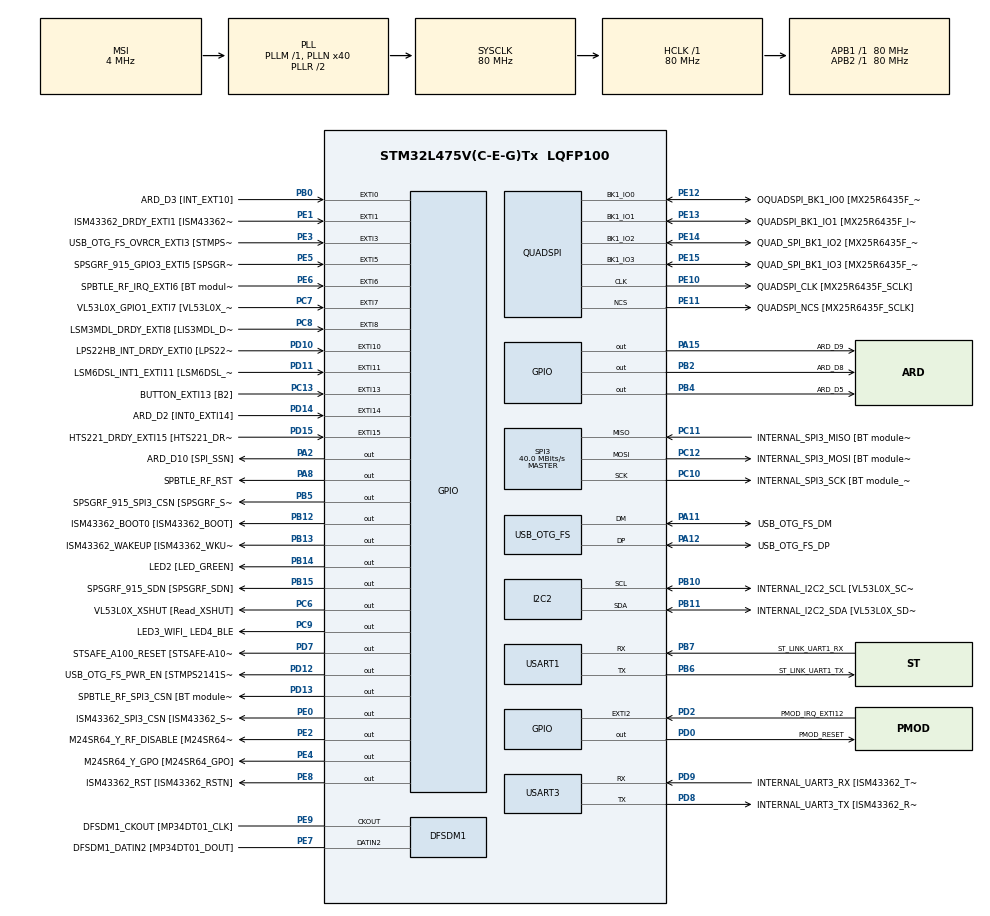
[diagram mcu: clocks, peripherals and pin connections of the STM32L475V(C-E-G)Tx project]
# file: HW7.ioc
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Mcu.Family=STM32L4
Mcu.Name=STM32L475V(C-E-G)Tx
Mcu.Package=LQFP100
NVIC.EXTI15_10_IRQn=true\:0\:0\:false\:false\:true\:true\:true\:true
NVIC.EXTI9_5_IRQn=true\:0\:0\:false\:false\:true\:true\:true\:true
NVIC.PriorityGroup=NVIC_PRIORITYGROUP_4
PA0.GPIO_Label=ARD_D1 [UART4_TX]
PA0.Signal=UART4_TX
PA1.GPIO_Label=ARD_D0 [UART4_RX]
PA1.Signal=UART4_RX
PA10.GPIO_Label=USB_OTG_FS_ID
PA10.Signal=USB_OTG_FS_ID
PA11.GPIO_Label=USB_OTG_FS_DM
PA11.Mode=Device_Only
PA11.Signal=USB_OTG_FS_DM
PA12.GPIO_Label=USB_OTG_FS_DP
PA12.Mode=Device_Only
PA12.Signal=USB_OTG_FS_DP
PA13\ (JTMS-SWDIO).GPIO_Label=SYS_JTMS_SWDIO
PA13\ (JTMS-SWDIO).Mode=Serial_Wire
PA13\ (JTMS-SWDIO).Signal=SYS_JTMS-SWDIO
PA14\ (JTCK-SWCLK).GPIO_Label=SYS_JTCK_SWCLK
PA14\ (JTCK-SWCLK).Mode=Serial_Wire
PA14\ (JTCK-SWCLK).Signal=SYS_JTCK-SWCLK
PA15\ (JTDI).GPIO_Label=ARD_D9
PA15\ (JTDI).Signal=GPIO_Output
PA2.GPIO_Label=ARD_D10 [SPI_SSN]
PA2.Signal=GPIO_Output
PA3.GPIO_Label=ARD_D4
PA3.Signal=S_TIM2_CH4
PA4.GPIO_Label=ARD_D7
PA4.Signal=ADCx_IN9
PA5.GPIO_Label=ARD_D13 [SPI1_SCK]
PA5.Signal=SPI1_SCK
PA6.GPIO_Label=ARD_D12 [SPI1_MISO]
PA6.Signal=SPI1_MISO
PA7.GPIO_Label=ARD_D11 [SPI1_MOSI]
PA7.Signal=SPI1_MOSI
PA8.GPIO_Label=SPBTLE_RF_RST
PA8.Signal=GPIO_Output
PA9.GPIO_Label=USB_OTG_FS_VBUS [STMPS2141STR_OUT]
PA9.Signal=USB_OTG_FS_VBUS
PB0.GPIO_Label=ARD_D3 [INT_EXT10]
PB0.Signal=GPXTI0
PB1.GPIO_Label=ARD_D6 [ADC1_IN6]
PB1.Signal=ADCx_IN16
PB10.GPIO_Label=INTERNAL_I2C2_SCL [VL53L0X_SCL]
PB10.GPIO_Pu=GPIO_PULLUP
PB10.Mode=I2C
PB10.Signal=I2C2_SCL
PB11.GPIO_Label=INTERNAL_I2C2_SDA [VL53L0X_SDA]
PB11.GPIO_Pu=GPIO_PULLUP
PB11.Mode=I2C
PB11.Signal=I2C2_SDA
PB12.GPIO_Label=ISM43362_BOOT0 [ISM43362_BOOT]
PB12.Signal=GPIO_Output
PB13.GPIO_Label=ISM43362_WAKEUP [ISM43362_WKUP]
PB13.Signal=GPIO_Output
PB14.GPIO_Label=LED2 [LED_GREEN]
PB14.Signal=GPIO_Output
PB15.GPIO_Label=SPSGRF_915_SDN [SPSGRF_SDN]
PB15.Signal=GPIO_Output
PB2.GPIO_Label=ARD_D8
PB2.Signal=GPIO_Output
PB3\ (JTDO-TRACESWO).GPIO_Label=SYS_JTD0_SWO
PB3\ (JTDO-TRACESWO).Signal=SYS_JTDO-SWO
PB4\ (NJTRST).GPIO_Label=ARD_D5
PB4\ (NJTRST).Signal=GPIO_Output
PB5.GPIO_Label=SPSGRF_915_SPI3_CSN [SPSGRF_SPI_CS]
PB5.PinState=GPIO_PIN_SET
PB5.Signal=GPIO_Output
PB6.GPIO_Label=ST_LINK_UART1_TX
PB6.Mode=Asynchronous
PB6.Signal=USART1_TX
PB7.GPIO_Label=ST_LINK_UART1_RX
PB7.Mode=Asynchronous
PB7.Signal=USART1_RX
PB8.GPIO_Label=ARD_D15 [I2C1_SCL]
PB8.Signal=I2C1_SCL
PB9.GPIO_Label=ARD_D14 [I2C1_SDA]
PB9.Signal=I2C1_SDA
PC0.GPIO_Label=ARD_A5 [ADC]
PC0.Signal=ADCx_IN1
PC1.GPIO_Label=ARD_A4 [ADC]
PC1.Signal=ADCx_IN2
PC10.GPIO_Label=INTERNAL_SPI3_SCK [BT module_SPI_SCLK] [ISM43362_SCK]
PC10.Mode=Full_Duplex_Master
PC10.Signal=SPI3_SCK
PC11.GPIO_Label=INTERNAL_SPI3_MISO [BT module_SPI_MISO] [ISM43362_MISO]
PC11.Mode=Full_Duplex_Master
PC11.Signal=SPI3_MISO
PC12.GPIO_Label=INTERNAL_SPI3_MOSI [BT module_SPI_MOSI] [ISM43362_MOSI]
PC12.Mode=Full_Duplex_Master
PC12.Signal=SPI3_MOSI
PC13.GPIO_Label=BUTTON_EXTI13 [B2]
PC13.GPIO_ModeDefaultEXTI=GPIO_MODE_IT_FALLING
PC13.Signal=GPXTI13
PC14-OSC32_IN\ (PC14).Mode=LSE-External-Oscillator
PC14-OSC32_IN\ (PC14).Signal=RCC_OSC32_IN
PC15-OSC32_OUT\ (PC15).Mode=LSE-External-Oscillator
PC15-OSC32_OUT\ (PC15).Signal=RCC_OSC32_OUT
PC2.GPIO_Label=ARD_A3 [ADC]
PC2.Signal=ADCx_IN3
PC3.GPIO_Label=ARD_A2 [ADC]
PC3.Signal=ADCx_IN4
PC4.GPIO_Label=ARD_A1 [ADC]
PC4.Signal=ADCx_IN13
PC5.GPIO_Label=ARD_A0 [ADC]
PC5.Signal=ADCx_IN14
PC6.GPIO_Label=VL53L0X_XSHUT [Read_XSHUT]
PC6.Signal=GPIO_Output
PC7.GPIO_Label=VL53L0X_GPIO1_EXTI7 [VL53L0X_GPIO1]
PC7.Signal=GPXTI7
PC8.GPIO_Label=LSM3MDL_DRDY_EXTI8 [LIS3MDL_DRDY]
PC8.Signal=GPXTI8
PC9.GPIO_Label=LED3_WIFI_ LED4_BLE
PC9.Signal=GPIO_Output
PD0.GPIO_Label=PMOD_RESET
PD0.Signal=GPIO_Output
PD1.GPIO_Label=PMOD_SPI2_SCK
PD1.Signal=SPI2_SCK
PD10.GPIO_Label=LPS22HB_INT_DRDY_EXTI0 [LPS22HB_INT_DRDY] 
PD10.Signal=GPXTI10
PD11.GPIO_Label=LSM6DSL_INT1_EXTI11 [LSM6DSL_INT1]
PD11.Signal=GPXTI11
PD12.GPIO_Label=USB_OTG_FS_PWR_EN [STMPS2141STR_EN]
PD12.Signal=GPIO_Output
PD13.GPIO_Label=SPBTLE_RF_SPI3_CSN [BT module_SPI_CS]
PD13.PinState=GPIO_PIN_SET
PD13.Signal=GPIO_Output
PD14.GPIO_Label=ARD_D2 [INT0_EXTI14]
PD14.Signal=GPXTI14
PD15.GPIO_Label=HTS221_DRDY_EXTI15 [HTS221_DRDY]
PD15.Signal=GPXTI15
PD2.GPIO_Label=PMOD_IRQ_EXTI12
PD2.Signal=GPXTI2
PD3.GPIO_Label=PMOD_UART2_CTS
PD3.Signal=USART2_CTS
PD4.GPIO_Label=PMOD_UART2_RTS
PD4.Signal=USART2_RTS
PD5.GPIO_Label=PMOD_UART2_TX
PD5.Signal=USART2_TX
PD6.GPIO_Label=PMOD_UART2_RX
PD6.Signal=USART2_RX
PD7.GPIO_Label=STSAFE_A100_RESET [STSAFE-A100_RESET]
PD7.Signal=GPIO_Output
PD8.GPIO_Label=INTERNAL_UART3_TX [ISM43362_RX]
PD8.Mode=Asynchronous
PD8.Signal=USART3_TX
PD9.GPIO_Label=INTERNAL_UART3_RX [ISM43362_TX]
PD9.Mode=Asynchronous
PD9.Signal=USART3_RX
PE0.GPIO_Label=ISM43362_SPI3_CSN [ISM43362_SSN]
PE0.PinState=GPIO_PIN_SET
PE0.Signal=GPIO_Output
PE1.GPIO_Label=ISM43362_DRDY_EXTI1 [ISM43362_DATARDY]
PE1.Signal=GPXTI1
PE10.GPIO_Label=QUADSPI_CLK [MX25R6435F_SCLK]
PE10.Mode=Single Bank
PE10.Signal=QUADSPI_CLK
PE11.GPIO_Label=QUADSPI_NCS [MX25R6435F_SCLK]
PE11.Mode=Single Bank
PE11.Signal=QUADSPI_NCS
PE12.GPIO_Label=OQUADSPI_BK1_IO0 [MX25R6435F_IO0]
PE12.Mode=Single Bank
PE12.Signal=QUADSPI_BK1_IO0
PE13.GPIO_Label=QUADSPI_BK1_IO1 [MX25R6435F_IO1]
PE13.Mode=Single Bank
PE13.Signal=QUADSPI_BK1_IO1
PE14.GPIO_Label=QUAD_SPI_BK1_IO2 [MX25R6435F_IO2]
PE14.Mode=Single Bank
PE14.Signal=QUADSPI_BK1_IO2
PE15.GPIO_Label=QUAD_SPI_BK1_IO3 [MX25R6435F_IO3]
PE15.Mode=Single Bank
PE15.Signal=QUADSPI_BK1_IO3
PE2.GPIO_Label=M24SR64_Y_RF_DISABLE [M24SR64_RFDIS]
PE2.Signal=GPIO_Output
PE3.GPIO_Label=USB_OTG_FS_OVRCR_EXTI3 [STMPS2141STR_FAULT]
PE3.Signal=GPXTI3
PE4.GPIO_Label=M24SR64_Y_GPO [M24SR64_GPO]
PE4.Signal=GPIO_Output
PE5.GPIO_Label=SPSGRF_915_GPIO3_EXTI5 [SPSGRF_GPIO_3]
PE5.Signal=GPXTI5
PE6.GPIO_Label=SPBTLE_RF_IRQ_EXTI6 [BT module_SPI_IRQ]
PE6.Signal=GPXTI6
PE7.GPIO_Label=DFSDM1_DATIN2 [MP34DT01_DOUT]
PE7.Signal=S_DATAIN2DFSDM1
PE8.GPIO_Label=ISM43362_RST [ISM43362_RSTN]
PE8.Signal=GPIO_Output
PE9.GPIO_Label=DFSDM1_CKOUT [MP34DT01_CLK]
PE9.Signal=S_CKOUTDFSDM1
ProjectManager.HeapSize=0x200
ProjectManager.StackSize=0x400
ProjectManager.TargetToolchain=STM32CubeIDE
QUADSPI.ClockPrescaler=2
QUADSPI.FifoThreshold=4
QUADSPI.FlashSize=23
QUADSPI.SampleShifting=QSPI_SAMPLE_SHIFTING_HALFCYCLE
RCC.ADCFreq_Value=48000000
RCC.AHBFreq_Value=80000000
RCC.APB1Freq_Value=80000000
RCC.APB1TimFreq_Value=80000000
RCC.APB2Freq_Value=80000000
RCC.APB2TimFreq_Value=80000000
RCC.CortexFreq_Value=80000000
RCC.HCLKFreq_Value=80000000
RCC.HSE_VALUE=8000000
RCC.HSI_VALUE=16000000
RCC.MSI_VALUE=4000000
RCC.PLLN=40
RCC.PLLSAI1N=24
RCC.SYSCLKFreq_VALUE=80000000
RCC.SYSCLKSource=RCC_SYSCLKSOURCE_PLLCLK
RCC.USBFreq_Value=48000000
RCC.VCOOutputFreq_Value=160000000
SH.ADCx_IN1.0=ADC1_IN1
SH.ADCx_IN13.0=ADC1_IN13
SH.ADCx_IN14.0=ADC1_IN14
SH.ADCx_IN16.0=ADC1_IN16
SH.ADCx_IN2.0=ADC1_IN2
SH.ADCx_IN3.0=ADC1_IN3
SH.ADCx_IN4.0=ADC1_IN4
SH.ADCx_IN9.0=ADC1_IN9
SH.S_CKOUTDFSDM1.0=DFSDM1_CKOUT,CKOUT
SH.S_CKOUTDFSDM1.1=DFSDM1_CKOUT,PDM_SPI_Input_from_ch12_and_Internal_Clock
SH.S_DATAIN2DFSDM1.0=DFSDM1_DATIN2,PDM_SPI_Input_from_ch12_and_Internal_Clock
SH.S_TIM2_CH4.0=TIM2_CH4
SPI3.CalculateBaudRate=40.0 MBits/s
SPI3.Direction=SPI_DIRECTION_2LINES
SPI3.Mode=SPI_MODE_MASTER
SPI3.VirtualType=VM_MASTER
USART1.VirtualMode-Asynchronous=VM_ASYNC
USART3.VirtualMode-Asynchronous=VM_ASYNC
USB_OTG_FS.VirtualMode=Device_Only
board=B-L475E-IOT01A2

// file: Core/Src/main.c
/* USER CODE BEGIN Header */
/**
  ******************************************************************************
  * @file           : main.c
  * @brief          : Main program body
  ******************************************************************************
  * @attention
  *
  * Copyright (c) 2025 STMicroelectronics.
  * All rights reserved.
  *
  * This software is licensed under terms that can be found in the LICENSE file
  * in the root directory of this software component.
  * If no LICENSE file comes with this software, it is provided AS-IS.
  *
  ******************************************************************************
  */
/* USER CODE END Header */
#include "main.h"

/* USER CODE BEGIN Includes */
#include <stdio.h>
#include "arm_math.h"
#include "math_helper.h"

#include "sensors.h"
uint8_t SMD_FLAG = 0;

/* USER CODE END Includes */

/* USER CODE BEGIN PTD */
#define TEST_LENGTH_SAMPLES  320
#define SNR_THRESHOLD_F32    140.0f
#define BLOCK_SIZE            32
#define NUM_TAPS              29
/* USER CODE END PTD */

/* USER CODE BEGIN PD */
/* -------------------------------------------------------------------
 * The input signal and reference output (computed with MATLAB)
 * are defined externally in arm_fir_lpf_data.c.
 * ------------------------------------------------------------------- */

extern float32_t testInput_f32_1kHz_15kHz[TEST_LENGTH_SAMPLES];
extern float32_t refOutput[TEST_LENGTH_SAMPLES];

/* -------------------------------------------------------------------
 * Declare Test output buffer
 * ------------------------------------------------------------------- */

static float32_t testOutput[TEST_LENGTH_SAMPLES];

/* -------------------------------------------------------------------
 * Declare State buffer of size (numTaps + blockSize - 1)
 * ------------------------------------------------------------------- */

static float32_t firStateF32[BLOCK_SIZE + NUM_TAPS - 1];

/* ----------------------------------------------------------------------
** FIR Coefficients buffer generated using fir1() MATLAB function.
** fir1(28, 6/24)
** ------------------------------------------------------------------- */

const float32_t firCoeffs32[NUM_TAPS] = {
  -0.0018225230f, -0.0015879294f, +0.0000000000f, +0.0036977508f, +0.0080754303f, +0.0085302217f, -0.0000000000f, -0.0173976984f,
  -0.0341458607f, -0.0333591565f, +0.0000000000f, +0.0676308395f, +0.1522061835f, +0.2229246956f, +0.2504960933f, +0.2229246956f,
  +0.1522061835f, +0.0676308395f, +0.0000000000f, -0.0333591565f, -0.0341458607f, -0.0173976984f, -0.0000000000f, +0.0085302217f,
  +0.0080754303f, +0.0036977508f, +0.0000000000f, -0.0015879294f, -0.0018225230f
};

/* ------------------------------------------------------------------
 * Global variables for FIR LPF Example
 * ------------------------------------------------------------------- */

uint32_t blockSize = BLOCK_SIZE;
uint32_t numBlocks = TEST_LENGTH_SAMPLES/BLOCK_SIZE;

float32_t  snr;
/* USER CODE END PD */

DFSDM_Channel_HandleTypeDef hdfsdm1_channel1;

I2C_HandleTypeDef hi2c2;

QSPI_HandleTypeDef hqspi;

SPI_HandleTypeDef hspi3;

UART_HandleTypeDef huart1;
UART_HandleTypeDef huart3;

PCD_HandleTypeDef hpcd_USB_OTG_FS;

/* USER CODE BEGIN PV */
float32_t FFT_Input_Q15_f[50];
float32_t aFFT_Input_Q15[50];

#define FFT_Length  1024

uint8_t TenSecFlag = 0;
/* USER CODE END PV */

void SystemClock_Config(void);
static void MX_GPIO_Init(void);
static void MX_DFSDM1_Init(void);
static void MX_I2C2_Init(void);
static void MX_QUADSPI_Init(void);
static void MX_SPI3_Init(void);
static void MX_USART1_UART_Init(void);
static void MX_USART3_UART_Init(void);
static void MX_USB_OTG_FS_PCD_Init(void);
/* USER CODE BEGIN PFP */
static void TIM2_Init(void);
/* USER CODE END PFP */

/* USER CODE BEGIN 0 */
int __io_putchar(int ch)
{
  HAL_UART_Transmit(&huart1, (uint8_t *)&ch, 1, 0xFFFF);
  return ch;
}

int16_t inputX[1000]  = {0};
int16_t outputX[1000] = {0};
int16_t inputY[1000]  = {0};
int16_t outputY[1000] = {0};
int16_t inputZ[1000]  = {0};
int16_t outputZ[1000] = {0};
uint16_t ptr = 0;
uint8_t  AVG_WINDOW = 30;
void MoveAverage_single(int16_t *input, int16_t *output, uint16_t ptr, uint8_t AVG_WINDOW, int16_t *sum)
{
    *sum += input[ptr];
    if(ptr < 1000)
    {
    	if (ptr >= AVG_WINDOW) {
			*sum -= input[ptr - AVG_WINDOW];
			output[ptr] = *sum / AVG_WINDOW;
		} else {
			output[ptr] = *sum / (ptr + 1);
		}
	}
    else
    	return;
}

/* USER CODE END 0 */

int main(void)
{

  /* USER CODE BEGIN 1 */
  uint32_t i;
  arm_fir_instance_f32 S;
  arm_status status;
  float32_t  *inputF32, *outputF32;

  /* USER CODE END 1 */

  /* MCU Configuration--------------------------------------------------------*/

  /* Reset of all peripherals, Initializes the Flash interface and the Systick. */
  HAL_Init();

  /* USER CODE BEGIN Init */
  inputF32 = &testInput_f32_1kHz_15kHz[0];
  outputF32 = &testOutput[0];
  /* USER CODE END Init */

  /* Configure the system clock */
  SystemClock_Config();

  /* USER CODE BEGIN SysInit */
  arm_fir_init_f32(&S, NUM_TAPS, (float32_t *)&firCoeffs32[0], &firStateF32[0], blockSize);

  /* USER CODE END SysInit */

  /* Initialize all configured peripherals */
  MX_GPIO_Init();
  MX_DFSDM1_Init();
  MX_I2C2_Init();
  MX_QUADSPI_Init();
  MX_SPI3_Init();
  MX_USART1_UART_Init();
  MX_USART3_UART_Init();
  MX_USB_OTG_FS_PCD_Init();
  TIM2_Init();
  /* USER CODE BEGIN 2 */
  int16_t accx,accy,accz;
  init_accelerometer();
  /* ----------------------------------------------------------------------
  ** Call the FIR process function for every blockSize samples
  ** ------------------------------------------------------------------- */

  for(i=0; i < numBlocks; i++)
  {
    arm_fir_f32(&S, inputF32 + (i * blockSize), outputF32 + (i * blockSize), blockSize);
  }

  /* ----------------------------------------------------------------------
  ** Compare the generated output against the reference output computed
  ** in MATLAB.
  ** ------------------------------------------------------------------- */

  snr = arm_snr_f32(&refOutput[0], &testOutput[0], TEST_LENGTH_SAMPLES);

  if (snr < SNR_THRESHOLD_F32)
  {
	status = ARM_MATH_TEST_FAILURE;
  }
  else
  {
    status = ARM_MATH_SUCCESS;
  }

//  /* UART 輸出未濾波(原始輸入訊號) 和 濾波後的訊號資料 */
//  for (uint32_t i = 0; i < TEST_LENGTH_SAMPLES; i++)
//  {
//      printf("%f,%f,\r\n", testInput_f32_1kHz_15kHz[i], testOutput[i]);
//      HAL_Delay(1);  // 加入一些延遲，避免串口資料丟失
//  }

  /* USER CODE END 2 */

  /* Infinite loop */
  /* USER CODE BEGIN WHILE */
  uint16_t y = 0;
  int16_t sumX = 0, sumY = 0, sumZ = 0;

  printf("input \r\n");

  while (1)
  {
	  if(ptr < 1000)
	  {
		  getAxisAccelerometer(&accx,&accy,&accz);
		  inputX[ptr] = accx;
		  inputY[ptr] = accy;
		  inputZ[ptr] = accz;
		  MoveAverage_single(inputX, outputX, ptr, AVG_WINDOW, &sumX);
		  MoveAverage_single(inputY, outputY, ptr, AVG_WINDOW, &sumY);
		  MoveAverage_single(inputZ, outputZ, ptr, AVG_WINDOW, &sumZ);
		  ptr++;

		  printf("%d,%d,%d,...\r\n" , accx, accy, accz);
	  }
	  else
	  {
		  if(y == 0)
		  {
			  printf("output\r\n");
			  printf("%d,%d,%d,...\r\n" , outputX[y], outputY[y], outputZ[y]);
			  y++;

		  }
		  else if(y > 0 && y < 1000)
		  {
			  printf("%d,%d,%d,...\r\n" , outputX[y], outputY[y], outputZ[y]);
			  y++;
		  }
		  else	break;

	  }
    /* USER CODE END WHILE */

  }
}

void SystemClock_Config(void)
{
  RCC_OscInitTypeDef RCC_OscInitStruct = {0};
  RCC_ClkInitTypeDef RCC_ClkInitStruct = {0};

  /** Configure the main internal regulator output voltage
  */
  if (HAL_PWREx_ControlVoltageScaling(PWR_REGULATOR_VOLTAGE_SCALE1) != HAL_OK)
  {
    Error_Handler();
  }

  /** Configure LSE Drive Capability
  */
  HAL_PWR_EnableBkUpAccess();
  __HAL_RCC_LSEDRIVE_CONFIG(RCC_LSEDRIVE_LOW);

  /** Initializes the RCC Oscillators according to the specified parameters
  * in the RCC_OscInitTypeDef structure.
  */
  RCC_OscInitStruct.OscillatorType = RCC_OSCILLATORTYPE_LSE|RCC_OSCILLATORTYPE_MSI;
  RCC_OscInitStruct.LSEState = RCC_LSE_ON;
  RCC_OscInitStruct.MSIState = RCC_MSI_ON;
  RCC_OscInitStruct.MSICalibrationValue = 0;
  RCC_OscInitStruct.MSIClockRange = RCC_MSIRANGE_6;
  RCC_OscInitStruct.PLL.PLLState = RCC_PLL_ON;
  RCC_OscInitStruct.PLL.PLLSource = RCC_PLLSOURCE_MSI;
  RCC_OscInitStruct.PLL.PLLM = 1;
  RCC_OscInitStruct.PLL.PLLN = 40;
  RCC_OscInitStruct.PLL.PLLP = RCC_PLLP_DIV7;
  RCC_OscInitStruct.PLL.PLLQ = RCC_PLLQ_DIV2;
  RCC_OscInitStruct.PLL.PLLR = RCC_PLLR_DIV2;
  if (HAL_RCC_OscConfig(&RCC_OscInitStruct) != HAL_OK)
  {
    Error_Handler();
  }

  /** Initializes the CPU, AHB and APB buses clocks
  */
  RCC_ClkInitStruct.ClockType = RCC_CLOCKTYPE_HCLK|RCC_CLOCKTYPE_SYSCLK
                              |RCC_CLOCKTYPE_PCLK1|RCC_CLOCKTYPE_PCLK2;
  RCC_ClkInitStruct.SYSCLKSource = RCC_SYSCLKSOURCE_PLLCLK;
  RCC_ClkInitStruct.AHBCLKDivider = RCC_SYSCLK_DIV1;
  RCC_ClkInitStruct.APB1CLKDivider = RCC_HCLK_DIV1;
  RCC_ClkInitStruct.APB2CLKDivider = RCC_HCLK_DIV1;

  if (HAL_RCC_ClockConfig(&RCC_ClkInitStruct, FLASH_LATENCY_4) != HAL_OK)
  {
    Error_Handler();
  }

  /** Enable MSI Auto calibration
  */
  HAL_RCCEx_EnableMSIPLLMode();
}

static void MX_DFSDM1_Init(void)
{

  hdfsdm1_channel1.Instance = DFSDM1_Channel1;
  hdfsdm1_channel1.Init.OutputClock.Activation = ENABLE;
  hdfsdm1_channel1.Init.OutputClock.Selection = DFSDM_CHANNEL_OUTPUT_CLOCK_SYSTEM;
  hdfsdm1_channel1.Init.OutputClock.Divider = 2;
  hdfsdm1_channel1.Init.Input.Multiplexer = DFSDM_CHANNEL_EXTERNAL_INPUTS;
  hdfsdm1_channel1.Init.Input.DataPacking = DFSDM_CHANNEL_STANDARD_MODE;
  hdfsdm1_channel1.Init.Input.Pins = DFSDM_CHANNEL_FOLLOWING_CHANNEL_PINS;
  hdfsdm1_channel1.Init.SerialInterface.Type = DFSDM_CHANNEL_SPI_RISING;
  hdfsdm1_channel1.Init.SerialInterface.SpiClock = DFSDM_CHANNEL_SPI_CLOCK_INTERNAL;
  hdfsdm1_channel1.Init.Awd.FilterOrder = DFSDM_CHANNEL_FASTSINC_ORDER;
  hdfsdm1_channel1.Init.Awd.Oversampling = 1;
  hdfsdm1_channel1.Init.Offset = 0;
  hdfsdm1_channel1.Init.RightBitShift = 0x00;
  if (HAL_DFSDM_ChannelInit(&hdfsdm1_channel1) != HAL_OK)
  {
    Error_Handler();
  }

}

static void MX_I2C2_Init(void)
{

  hi2c2.Instance = I2C2;
  hi2c2.Init.Timing = 0x00000E14;
  hi2c2.Init.OwnAddress1 = 0;
  hi2c2.Init.AddressingMode = I2C_ADDRESSINGMODE_7BIT;
  hi2c2.Init.DualAddressMode = I2C_DUALADDRESS_DISABLE;
  hi2c2.Init.OwnAddress2 = 0;
  hi2c2.Init.OwnAddress2Masks = I2C_OA2_NOMASK;
  hi2c2.Init.GeneralCallMode = I2C_GENERALCALL_DISABLE;
  hi2c2.Init.NoStretchMode = I2C_NOSTRETCH_DISABLE;
  if (HAL_I2C_Init(&hi2c2) != HAL_OK)
  {
    Error_Handler();
  }
  /** Configure Analogue filter
  */
  if (HAL_I2CEx_ConfigAnalogFilter(&hi2c2, I2C_ANALOGFILTER_ENABLE) != HAL_OK)
  {
    Error_Handler();
  }
  /** Configure Digital filter
  */
  if (HAL_I2CEx_ConfigDigitalFilter(&hi2c2, 0) != HAL_OK)
  {
    Error_Handler();
  }

}

static void MX_QUADSPI_Init(void)
{

  /* QUADSPI parameter configuration*/
  hqspi.Instance = QUADSPI;
  hqspi.Init.ClockPrescaler = 2;
  hqspi.Init.FifoThreshold = 4;
  hqspi.Init.SampleShifting = QSPI_SAMPLE_SHIFTING_HALFCYCLE;
  hqspi.Init.FlashSize = 23;
  hqspi.Init.ChipSelectHighTime = QSPI_CS_HIGH_TIME_1_CYCLE;
  hqspi.Init.ClockMode = QSPI_CLOCK_MODE_0;
  if (HAL_QSPI_Init(&hqspi) != HAL_OK)
  {
    Error_Handler();
  }

}

static void MX_SPI3_Init(void)
{

  /* SPI3 parameter configuration*/
  hspi3.Instance = SPI3;
  hspi3.Init.Mode = SPI_MODE_MASTER;
  hspi3.Init.Direction = SPI_DIRECTION_2LINES;
  hspi3.Init.DataSize = SPI_DATASIZE_4BIT;
  hspi3.Init.CLKPolarity = SPI_POLARITY_LOW;
  hspi3.Init.CLKPhase = SPI_PHASE_1EDGE;
  hspi3.Init.NSS = SPI_NSS_SOFT;
  hspi3.Init.BaudRatePrescaler = SPI_BAUDRATEPRESCALER_2;
  hspi3.Init.FirstBit = SPI_FIRSTBIT_MSB;
  hspi3.Init.TIMode = SPI_TIMODE_DISABLE;
  hspi3.Init.CRCCalculation = SPI_CRCCALCULATION_DISABLE;
  hspi3.Init.CRCPolynomial = 7;
  hspi3.Init.CRCLength = SPI_CRC_LENGTH_DATASIZE;
  hspi3.Init.NSSPMode = SPI_NSS_PULSE_ENABLE;
  if (HAL_SPI_Init(&hspi3) != HAL_OK)
  {
    Error_Handler();
  }

}

static void MX_USART1_UART_Init(void)
{

  huart1.Instance = USART1;
  huart1.Init.BaudRate = 115200;
  huart1.Init.WordLength = UART_WORDLENGTH_8B;
  huart1.Init.StopBits = UART_STOPBITS_1;
  huart1.Init.Parity = UART_PARITY_NONE;
  huart1.Init.Mode = UART_MODE_TX_RX;
  huart1.Init.HwFlowCtl = UART_HWCONTROL_NONE;
  huart1.Init.OverSampling = UART_OVERSAMPLING_16;
  huart1.Init.OneBitSampling = UART_ONE_BIT_SAMPLE_DISABLE;
  huart1.AdvancedInit.AdvFeatureInit = UART_ADVFEATURE_NO_INIT;
  if (HAL_UART_Init(&huart1) != HAL_OK)
  {
    Error_Handler();
  }

}

static void MX_USART3_UART_Init(void)
{

  huart3.Instance = USART3;
  huart3.Init.BaudRate = 115200;
  huart3.Init.WordLength = UART_WORDLENGTH_8B;
  huart3.Init.StopBits = UART_STOPBITS_1;
  huart3.Init.Parity = UART_PARITY_NONE;
  huart3.Init.Mode = UART_MODE_TX_RX;
  huart3.Init.HwFlowCtl = UART_HWCONTROL_NONE;
  huart3.Init.OverSampling = UART_OVERSAMPLING_16;
  huart3.Init.OneBitSampling = UART_ONE_BIT_SAMPLE_DISABLE;
  huart3.AdvancedInit.AdvFeatureInit = UART_ADVFEATURE_NO_INIT;
  if (HAL_UART_Init(&huart3) != HAL_OK)
  {
    Error_Handler();
  }

}

static void MX_USB_OTG_FS_PCD_Init(void)
{

  hpcd_USB_OTG_FS.Instance = USB_OTG_FS;
  hpcd_USB_OTG_FS.Init.dev_endpoints = 6;
  hpcd_USB_OTG_FS.Init.speed = PCD_SPEED_FULL;
  hpcd_USB_OTG_FS.Init.phy_itface = PCD_PHY_EMBEDDED;
  hpcd_USB_OTG_FS.Init.Sof_enable = DISABLE;
  hpcd_USB_OTG_FS.Init.low_power_enable = DISABLE;
  hpcd_USB_OTG_FS.Init.lpm_enable = DISABLE;
  hpcd_USB_OTG_FS.Init.battery_charging_enable = DISABLE;
  hpcd_USB_OTG_FS.Init.use_dedicated_ep1 = DISABLE;
  hpcd_USB_OTG_FS.Init.vbus_sensing_enable = DISABLE;
  if (HAL_PCD_Init(&hpcd_USB_OTG_FS) != HAL_OK)
  {
    Error_Handler();
  }

}

static void MX_GPIO_Init(void)
{
  GPIO_InitTypeDef GPIO_InitStruct = {0};

  /* GPIO Ports Clock Enable */
  __HAL_RCC_GPIOE_CLK_ENABLE();
  __HAL_RCC_GPIOC_CLK_ENABLE();
  __HAL_RCC_GPIOA_CLK_ENABLE();
  __HAL_RCC_GPIOB_CLK_ENABLE();
  __HAL_RCC_GPIOD_CLK_ENABLE();

  /*Configure GPIO pin Output Level */
  HAL_GPIO_WritePin(GPIOE, M24SR64_Y_RF_DISABLE_Pin|M24SR64_Y_GPO_Pin|ISM43362_RST_Pin, GPIO_PIN_RESET);

  /*Configure GPIO pin Output Level */
  HAL_GPIO_WritePin(GPIOA, ARD_D10_Pin|SPBTLE_RF_RST_Pin|ARD_D9_Pin, GPIO_PIN_RESET);

  /*Configure GPIO pin Output Level */
  HAL_GPIO_WritePin(GPIOB, ARD_D8_Pin|ISM43362_BOOT0_Pin|ISM43362_WAKEUP_Pin|LED2_Pin
                          |SPSGRF_915_SDN_Pin|ARD_D5_Pin, GPIO_PIN_RESET);

  /*Configure GPIO pin Output Level */
  HAL_GPIO_WritePin(GPIOD, USB_OTG_FS_PWR_EN_Pin|PMOD_RESET_Pin|STSAFE_A100_RESET_Pin, GPIO_PIN_RESET);

  /*Configure GPIO pin Output Level */
  HAL_GPIO_WritePin(SPBTLE_RF_SPI3_CSN_GPIO_Port, SPBTLE_RF_SPI3_CSN_Pin, GPIO_PIN_SET);

  /*Configure GPIO pin Output Level */
  HAL_GPIO_WritePin(GPIOC, VL53L0X_XSHUT_Pin|LED3_WIFI__LED4_BLE_Pin, GPIO_PIN_RESET);

  /*Configure GPIO pin Output Level */
  HAL_GPIO_WritePin(SPSGRF_915_SPI3_CSN_GPIO_Port, SPSGRF_915_SPI3_CSN_Pin, GPIO_PIN_SET);

  /*Configure GPIO pin Output Level */
  HAL_GPIO_WritePin(ISM43362_SPI3_CSN_GPIO_Port, ISM43362_SPI3_CSN_Pin, GPIO_PIN_SET);

  /*Configure GPIO pins : M24SR64_Y_RF_DISABLE_Pin M24SR64_Y_GPO_Pin ISM43362_RST_Pin ISM43362_SPI3_CSN_Pin */
  GPIO_InitStruct.Pin = M24SR64_Y_RF_DISABLE_Pin|M24SR64_Y_GPO_Pin|ISM43362_RST_Pin|ISM43362_SPI3_CSN_Pin;
  GPIO_InitStruct.Mode = GPIO_MODE_OUTPUT_PP;
  GPIO_InitStruct.Pull = GPIO_NOPULL;
  GPIO_InitStruct.Speed = GPIO_SPEED_FREQ_LOW;
  HAL_GPIO_Init(GPIOE, &GPIO_InitStruct);

  /*Configure GPIO pins : USB_OTG_FS_OVRCR_EXTI3_Pin SPSGRF_915_GPIO3_EXTI5_Pin SPBTLE_RF_IRQ_EXTI6_Pin ISM43362_DRDY_EXTI1_Pin */
  GPIO_InitStruct.Pin = USB_OTG_FS_OVRCR_EXTI3_Pin|SPSGRF_915_GPIO3_EXTI5_Pin|SPBTLE_RF_IRQ_EXTI6_Pin|ISM43362_DRDY_EXTI1_Pin;
  GPIO_InitStruct.Mode = GPIO_MODE_IT_RISING;
  GPIO_InitStruct.Pull = GPIO_NOPULL;
  HAL_GPIO_Init(GPIOE, &GPIO_InitStruct);

  /*Configure GPIO pin : BUTTON_EXTI13_Pin */
  GPIO_InitStruct.Pin = BUTTON_EXTI13_Pin;
  GPIO_InitStruct.Mode = GPIO_MODE_IT_FALLING;
  GPIO_InitStruct.Pull = GPIO_NOPULL;
  HAL_GPIO_Init(BUTTON_EXTI13_GPIO_Port, &GPIO_InitStruct);

  /*Configure GPIO pins : ARD_A5_Pin ARD_A4_Pin ARD_A3_Pin ARD_A2_Pin
                           ARD_A1_Pin ARD_A0_Pin */
  GPIO_InitStruct.Pin = ARD_A5_Pin|ARD_A4_Pin|ARD_A3_Pin|ARD_A2_Pin
                          |ARD_A1_Pin|ARD_A0_Pin;
  GPIO_InitStruct.Mode = GPIO_MODE_ANALOG_ADC_CONTROL;
  GPIO_InitStruct.Pull = GPIO_NOPULL;
  HAL_GPIO_Init(GPIOC, &GPIO_InitStruct);

  /*Configure GPIO pins : ARD_D1_Pin ARD_D0_Pin */
  GPIO_InitStruct.Pin = ARD_D1_Pin|ARD_D0_Pin;
  GPIO_InitStruct.Mode = GPIO_MODE_AF_PP;
  GPIO_InitStruct.Pull = GPIO_NOPULL;
  GPIO_InitStruct.Speed = GPIO_SPEED_FREQ_VERY_HIGH;
  GPIO_InitStruct.Alternate = GPIO_AF8_UART4;
  HAL_GPIO_Init(GPIOA, &GPIO_InitStruct);

  /*Configure GPIO pins : ARD_D10_Pin SPBTLE_RF_RST_Pin ARD_D9_Pin */
  GPIO_InitStruct.Pin = ARD_D10_Pin|SPBTLE_RF_RST_Pin|ARD_D9_Pin;
  GPIO_InitStruct.Mode = GPIO_MODE_OUTPUT_PP;
  GPIO_InitStruct.Pull = GPIO_NOPULL;
  GPIO_InitStruct.Speed = GPIO_SPEED_FREQ_LOW;
  HAL_GPIO_Init(GPIOA, &GPIO_InitStruct);

  /*Configure GPIO pin : ARD_D4_Pin */
  GPIO_InitStruct.Pin = ARD_D4_Pin;
  GPIO_InitStruct.Mode = GPIO_MODE_AF_PP;
  GPIO_InitStruct.Pull = GPIO_NOPULL;
  GPIO_InitStruct.Speed = GPIO_SPEED_FREQ_LOW;
  GPIO_InitStruct.Alternate = GPIO_AF1_TIM2;
  HAL_GPIO_Init(ARD_D4_GPIO_Port, &GPIO_InitStruct);

  /*Configure GPIO pin : ARD_D7_Pin */
  GPIO_InitStruct.Pin = ARD_D7_Pin;
  GPIO_InitStruct.Mode = GPIO_MODE_ANALOG_ADC_CONTROL;
  GPIO_InitStruct.Pull = GPIO_NOPULL;
  HAL_GPIO_Init(ARD_D7_GPIO_Port, &GPIO_InitStruct);

  /*Configure GPIO pins : ARD_D13_Pin ARD_D12_Pin ARD_D11_Pin */
  GPIO_InitStruct.Pin = ARD_D13_Pin|ARD_D12_Pin|ARD_D11_Pin;
  GPIO_InitStruct.Mode = GPIO_MODE_AF_PP;
  GPIO_InitStruct.Pull = GPIO_NOPULL;
  GPIO_InitStruct.Speed = GPIO_SPEED_FREQ_VERY_HIGH;
  GPIO_InitStruct.Alternate = GPIO_AF5_SPI1;
  HAL_GPIO_Init(GPIOA, &GPIO_InitStruct);

  /*Configure GPIO pin : ARD_D3_Pin */
  GPIO_InitStruct.Pin = ARD_D3_Pin;
  GPIO_InitStruct.Mode = GPIO_MODE_IT_RISING;
  GPIO_InitStruct.Pull = GPIO_NOPULL;
  HAL_GPIO_Init(ARD_D3_GPIO_Port, &GPIO_InitStruct);

  /*Configure GPIO pin : ARD_D6_Pin */
  GPIO_InitStruct.Pin = ARD_D6_Pin;
  GPIO_InitStruct.Mode = GPIO_MODE_ANALOG_ADC_CONTROL;
  GPIO_InitStruct.Pull = GPIO_NOPULL;
  HAL_GPIO_Init(ARD_D6_GPIO_Port, &GPIO_InitStruct);

  /*Configure GPIO pins : ARD_D8_Pin ISM43362_BOOT0_Pin ISM43362_WAKEUP_Pin LED2_Pin
                           SPSGRF_915_SDN_Pin ARD_D5_Pin SPSGRF_915_SPI3_CSN_Pin */
  GPIO_InitStruct.Pin = ARD_D8_Pin|ISM43362_BOOT0_Pin|ISM43362_WAKEUP_Pin|LED2_Pin
                          |SPSGRF_915_SDN_Pin|ARD_D5_Pin|SPSGRF_915_SPI3_CSN_Pin;
  GPIO_InitStruct.Mode = GPIO_MODE_OUTPUT_PP;
  GPIO_InitStruct.Pull = GPIO_NOPULL;
  GPIO_InitStruct.Speed = GPIO_SPEED_FREQ_LOW;
  HAL_GPIO_Init(GPIOB, &GPIO_InitStruct);

  /*Configure GPIO pins : LPS22HB_INT_DRDY_EXTI0_Pin LSM6DSL_INT1_EXTI11_Pin ARD_D2_Pin HTS221_DRDY_EXTI15_Pin
                           PMOD_IRQ_EXTI12_Pin */
  GPIO_InitStruct.Pin = LPS22HB_INT_DRDY_EXTI0_Pin|LSM6DSL_INT1_EXTI11_Pin|ARD_D2_Pin|HTS221_DRDY_EXTI15_Pin
                          |PMOD_IRQ_EXTI12_Pin;
  GPIO_InitStruct.Mode = GPIO_MODE_IT_RISING;
  GPIO_InitStruct.Pull = GPIO_NOPULL;
  HAL_GPIO_Init(GPIOD, &GPIO_InitStruct);

  /*Configure GPIO pins : USB_OTG_FS_PWR_EN_Pin SPBTLE_RF_SPI3_CSN_Pin PMOD_RESET_Pin STSAFE_A100_RESET_Pin */
  GPIO_InitStruct.Pin = USB_OTG_FS_PWR_EN_Pin|SPBTLE_RF_SPI3_CSN_Pin|PMOD_RESET_Pin|STSAFE_A100_RESET_Pin;
  GPIO_InitStruct.Mode = GPIO_MODE_OUTPUT_PP;
  GPIO_InitStruct.Pull = GPIO_NOPULL;
  GPIO_InitStruct.Speed = GPIO_SPEED_FREQ_LOW;
  HAL_GPIO_Init(GPIOD, &GPIO_InitStruct);

  /*Configure GPIO pins : VL53L0X_XSHUT_Pin LED3_WIFI__LED4_BLE_Pin */
  GPIO_InitStruct.Pin = VL53L0X_XSHUT_Pin|LED3_WIFI__LED4_BLE_Pin;
  GPIO_InitStruct.Mode = GPIO_MODE_OUTPUT_PP;
  GPIO_InitStruct.Pull = GPIO_NOPULL;
  GPIO_InitStruct.Speed = GPIO_SPEED_FREQ_LOW;
  HAL_GPIO_Init(GPIOC, &GPIO_InitStruct);

  /*Configure GPIO pins : VL53L0X_GPIO1_EXTI7_Pin LSM3MDL_DRDY_EXTI8_Pin */
  GPIO_InitStruct.Pin = VL53L0X_GPIO1_EXTI7_Pin|LSM3MDL_DRDY_EXTI8_Pin;
  GPIO_InitStruct.Mode = GPIO_MODE_IT_RISING;
  GPIO_InitStruct.Pull = GPIO_NOPULL;
  HAL_GPIO_Init(GPIOC, &GPIO_InitStruct);

  /*Configure GPIO pin : PMOD_SPI2_SCK_Pin */
  GPIO_InitStruct.Pin = PMOD_SPI2_SCK_Pin;
  GPIO_InitStruct.Mode = GPIO_MODE_AF_PP;
  GPIO_InitStruct.Pull = GPIO_NOPULL;
  GPIO_InitStruct.Speed = GPIO_SPEED_FREQ_VERY_HIGH;
  GPIO_InitStruct.Alternate = GPIO_AF5_SPI2;
  HAL_GPIO_Init(PMOD_SPI2_SCK_GPIO_Port, &GPIO_InitStruct);

  /*Configure GPIO pins : PMOD_UART2_CTS_Pin PMOD_UART2_RTS_Pin PMOD_UART2_TX_Pin PMOD_UART2_RX_Pin */
  GPIO_InitStruct.Pin = PMOD_UART2_CTS_Pin|PMOD_UART2_RTS_Pin|PMOD_UART2_TX_Pin|PMOD_UART2_RX_Pin;
  GPIO_InitStruct.Mode = GPIO_MODE_AF_PP;
  GPIO_InitStruct.Pull = GPIO_NOPULL;
  GPIO_InitStruct.Speed = GPIO_SPEED_FREQ_VERY_HIGH;
  GPIO_InitStruct.Alternate = GPIO_AF7_USART2;
  HAL_GPIO_Init(GPIOD, &GPIO_InitStruct);

  /*Configure GPIO pins : ARD_D15_Pin ARD_D14_Pin */
  GPIO_InitStruct.Pin = ARD_D15_Pin|ARD_D14_Pin;
  GPIO_InitStruct.Mode = GPIO_MODE_AF_OD;
  GPIO_InitStruct.Pull = GPIO_NOPULL;
  GPIO_InitStruct.Speed = GPIO_SPEED_FREQ_VERY_HIGH;
  GPIO_InitStruct.Alternate = GPIO_AF4_I2C1;
  HAL_GPIO_Init(GPIOB, &GPIO_InitStruct);

  /* EXTI interrupt init*/
  HAL_NVIC_SetPriority(EXTI9_5_IRQn, 0, 0);
  HAL_NVIC_EnableIRQ(EXTI9_5_IRQn);

  HAL_NVIC_SetPriority(EXTI15_10_IRQn, 0, 0);
  HAL_NVIC_EnableIRQ(EXTI15_10_IRQn);

}

/* USER CODE BEGIN 4 */
void TIM2_Init(void)
{
	RCC->APB1ENR1 |= 1 << 0;  //設定TIM2外設時鐘
	TIM2->SMCR   |= 000 << 0;//設定為內部時鐘

	TIM2->ARR     = 80000-1; //設定產生中斷目標值
	TIM2->PSC     = 10000-1;  //設定預分頻器
	TIM2->CR1     = 1 << 7;  //設定ARPE，允許自動裝載
	TIM2->CR1    |= 0 << 4;  //設定DIR，上數模式
	TIM2->CR1    |= 1 << 0;  //設定CEN，始能計數器
	TIM2->EGR     = 1 << 0;  //設定UG，初始化計數器，並立刻產生中斷
	TIM2->SR      = 0 << 0;  //設定UIF，清除中斷

	TIM2->DIER   |= 1 << 0 ; //設定UIE，允許更新中斷

	NVIC->ISER[0] = 1 << 28; //TIM2的中斷位置在28
}

void TIM2_IRQHandler(void)
{
	if( TIM2->SR & 0x0001)     //再次確認是否有中斷請求
	{
		TenSecFlag = 1;
		TIM2->SR &= ~(1 << 0);//手動清除中斷，等待下次中斷清求
	}
}
/* USER CODE END 4 */

void Error_Handler(void)
{
  __disable_irq();
  while (1)
  {
  }
}
